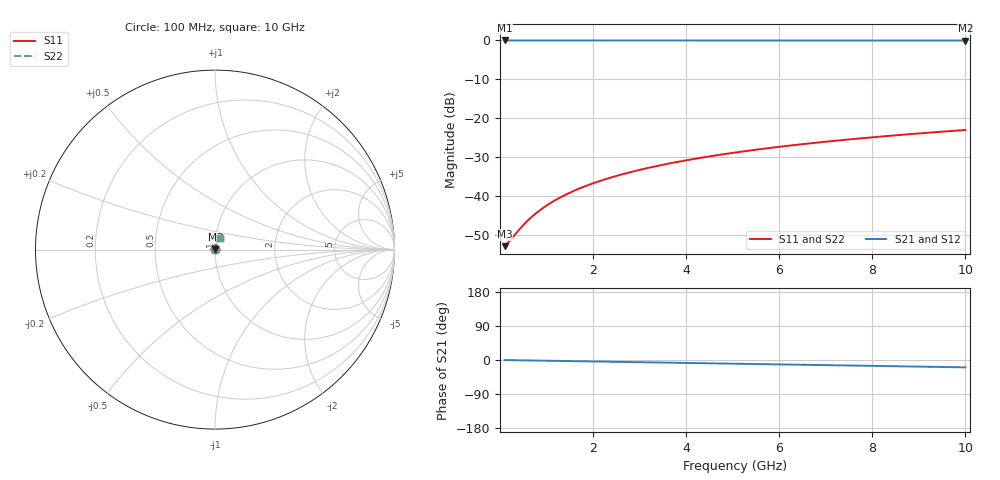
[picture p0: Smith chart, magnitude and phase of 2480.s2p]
# Hz S RI R 50.00
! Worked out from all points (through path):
!   100 points, 100 MHz to 10 GHz, reference 50 ohm
!   highest |S21| = -0.02 dB at 100 MHz (marker M1); lowest = 0.0 dB at 10 GHz (marker M2)
!   group delay of S21, straight-line fit = 5.38 ps
!   lowest |S11| = -53.0 dB at 100 MHz (marker M3), VSWR 1.00, Z = 50.2 + j0.0711 ohm
!   |S11| at or under -10 dB: start of sweep to end of sweep
!   |S22| runs from -53.0 to -23.1 dB; largest |S21 - S12| = 0
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1e8  0.00213 0.000708  0.9979 -0.00336  0.9979 -0.00336  0.00213 0.000708
2e8  0.00215 0.00142  0.9978 -0.00673  0.9978 -0.00673  0.00215 0.00142
4e8  0.0022 0.00283  0.9977 -0.0134  0.9977 -0.0134  0.0022 0.00283
5e8  0.00223 0.00354  0.9977 -0.0168  0.9977 -0.0168  0.00223 0.00354
6e8  0.00226 0.00425  0.9976 -0.0202  0.9976 -0.0202  0.00226 0.00425
7e8  0.00229 0.00495  0.9975 -0.0235  0.9975 -0.0235  0.00229 0.00495
9e8  0.00238 0.00637  0.9973 -0.0303  0.9973 -0.0303  0.00238 0.00637
1.1e9  0.00248 0.00778  0.9971 -0.037  0.9971 -0.037  0.00248 0.00778
1.3e9  0.0026 0.00919  0.9968 -0.0437  0.9968 -0.0437  0.0026 0.00919
1.5e9  0.00274 0.0106  0.9964 -0.0504  0.9964 -0.0504  0.00274 0.0106
1.8e9  0.00298 0.0127  0.9958 -0.0605  0.9958 -0.0605  0.00298 0.0127
2.1e9  0.00327 0.0148  0.9951 -0.0706  0.9951 -0.0706  0.00327 0.0148
2.5e9  0.00371 0.0176  0.994 -0.084  0.994 -0.084  0.00371 0.0176
2.9e9  0.00423 0.0204  0.9927 -0.0974  0.9927 -0.0974  0.00423 0.0204
3.4e9  0.00499 0.0238  0.9908 -0.1141  0.9908 -0.1141  0.00499 0.0238
4.2e9  0.00644 0.0293  0.9872 -0.1408  0.9872 -0.1408  0.00644 0.0293
5.1e9  0.00842 0.0354  0.9822 -0.1708  0.9822 -0.1708  0.00842 0.0354
5.9e9  0.0105 0.0406  0.977 -0.1972  0.977 -0.1972  0.0105 0.0406
6.7e9  0.0128 0.0458  0.971 -0.2236  0.971 -0.2236  0.0128 0.0458
7.5e9  0.0155 0.0508  0.9643 -0.2497  0.9643 -0.2497  0.0155 0.0508
8.4e9  0.0188 0.0563  0.9559 -0.2789  0.9559 -0.2789  0.0188 0.0563
1e10  0.0254 0.0655  0.9386 -0.3302  0.9386 -0.3302  0.0254 0.0655
